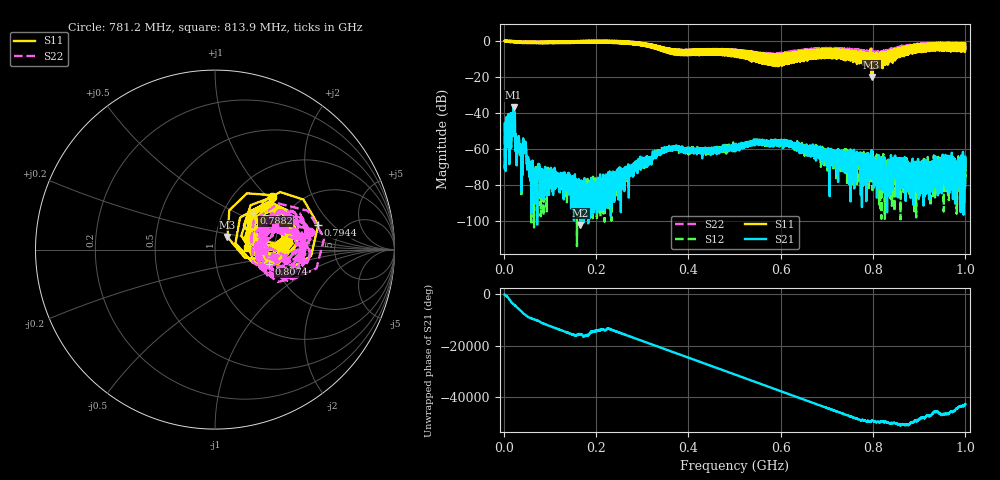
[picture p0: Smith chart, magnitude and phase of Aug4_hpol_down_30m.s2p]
!Keysight Technologies N9923A: A.12.45
!Date: Tuesday, 05 August 2025 18:41:12
!Timezone: (UTC+08:00) Kuala Lumpur, Singapore
!Model: N9923A
!Serial: MY61181427
!GPS Latitude:
!GPS Longitude:
!GPS TimeStamp: 0001-01-01 00:00:00Z
!GPS Seconds Since Last Read: 0
!CHECKSUM:0525803819
!Correction: S11(ON U)S21(ON U)S12(ON U)S22(ON U)
!S2P File: Measurements:S11,S21,S12,S22:
# Hz S DB R 50
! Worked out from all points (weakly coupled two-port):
!   4001 points, 2 MHz to 1 GHz, reference 50 ohm
!   highest |S21| = -37.06 dB at 21.46 MHz (marker M1); lowest = -102.3 dB at 166.2 MHz (marker M2)
!   lowest |S11| = -20.1 dB at 796.9 MHz (marker M3), VSWR 1.22, Z = 56.8 + j8.07 ohm
!   |S11| at or under -10 dB: 545.6535 MHz to 546.1796 MHz (526.1 kHz wide, 0.0964 % of centre); 584.2793 MHz to 585.1085 MHz (829.1 kHz wide, 0.142 % of centre); 810.0869 MHz to 810.8806 MHz (793.6 kHz wide, 0.0979 % of centre)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
!   |S22| runs from -14.1 to 0.1 dB; largest |S21 - S12| = 0.0012
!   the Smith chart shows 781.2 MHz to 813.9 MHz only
!   S11 on the Smith chart (normalised r, x): 781.2 MHz: 1.47, +1.06; 788.2 MHz: 1.38, +0.62; 794.4 MHz: 3.26, +1.38; 807.4 MHz: 1.83, -0.33; 813.9 MHz: 1.43, +0.02
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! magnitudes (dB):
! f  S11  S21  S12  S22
! 2 MHz  -0.1  -70.3  -71.4  -0.1
! 6.99 MHz  -0.1  -53.3  -53.0  -0.1
! 21.46 MHz  -0.6  -37.1  -36.9  -0.6
! 30.94 MHz  -1.0  -56.6  -56.7  -1.1
! 44.41 MHz  -1.3  -61.7  -62.1  -1.2
! 55.39 MHz  -0.6  -71.7  -72.9  -0.7
! 68.87 MHz  -0.8  -74.6  -73.5  -0.7
! 166.2 MHz  -0.3  -102.3  -85.3  -0.1
! 168.4 MHz  -1.2  -86.5  -83.1  -1.0
! 243.8 MHz  -1.1  -79.7  -77.7  -0.7
! 334.8 MHz  -4.0  -61.7  -63.7  -4.6
! 501 MHz  -6.0  -59.2  -58.4  -6.8
! 551.9 MHz  -6.9  -55.8  -55.8  -6.8
! 667.4 MHz  -8.9  -62.3  -59.7  -8.5
! 781.2 MHz  -7.3  -65.0  -65.1  -5.4
! 788.2 MHz  -10.6  -66.7  -67.1  -5.9
! 794.4 MHz  -4.6  -69.3  -74.6  -7.8
! 796.9 MHz  -20.1  -76.6  -73.2  -7.2
! 807.4 MHz  -10.1  -68.1  -67.3  -13.1
! 813.9 MHz  -15.1  -73.0  -74.7  -8.9
! 833.8 MHz  -8.8  -66.1  -74.5  -5.5
! 1 GHz  -1.5  -70.3  -74.2  -3.0
